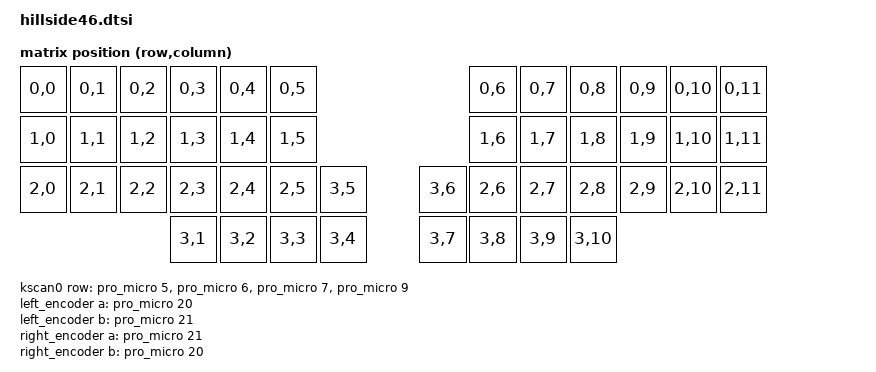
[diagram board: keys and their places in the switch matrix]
/*
 * Copyright (c) 2021-2022 The ZMK Contributors
 *
 * SPDX-License-Identifier: MIT
 */

#include <dt-bindings/zmk/matrix_transform.h>
+#include <physical_layouts.dtsi>

/ {
    chosen {
        zmk,kscan = &kscan0;
        zmk,physical-layout = &physical_layout0;
    };

    default_transform: keymap_transform_0 {
        compatible = "zmk,matrix-transform";
        columns = <12>;
        rows = <4>;
// | SW1  | SW2  | SW3  | SW4  | SW5  | SW6  |                                   | SW6  | SW5  | SW4  | SW3  | SW2  | SW1  |
// | SW7  | SW8  | SW9  | SW10 | SW11 | SW12 |                                   | SW12 | SW11 | SW10 | SW9  | SW8  | SW7  |
// | SW13 | SW14 | SW15 | SW16 | SW17 | SW18 / SW19 /                     \ SW19 \ SW18 | SW17 | SW16 | SW15 | SW14 | SW13 |
//                         | SW20 / SW21 / SW22 / SW23 /               \ SW23 \ SW23 \ SW21 \ SW20 |
        map = <
RC(0,0) RC(0,1) RC(0,2) RC(0,3) RC(0,4) RC(0,5)                                   RC(0,6) RC(0,7) RC(0,8) RC(0,9) RC(0,10) RC(0,11)
RC(1,0) RC(1,1) RC(1,2) RC(1,3) RC(1,4) RC(1,5)                                   RC(1,6) RC(1,7) RC(1,8) RC(1,9) RC(1,10) RC(1,11)
RC(2,0) RC(2,1) RC(2,2) RC(2,3) RC(2,4) RC(2,5) RC(3,5)                   RC(3,6) RC(2,6) RC(2,7) RC(2,8) RC(2,9) RC(2,10) RC(2,11)
                                RC(3,1) RC(3,2) RC(3,3) RC(3,4)   RC(3,7) RC(3,8) RC(3,9) RC(3,10)
        >;
    };

    physical_layout0: physical_layout_0 {
        compatible = "zmk,physical-layout";
        display-name = "Hillside 46";
        transform = <&default_transform>;

        keys
            // Row 0
            = <&key_physical_attrs 100 100    0    0 0 0 0>  // 0
            , <&key_physical_attrs 100 100  100    0 0 0 0>  // 1
            , <&key_physical_attrs 100 100  200    0 0 0 0>  // 2
            , <&key_physical_attrs 100 100  300    0 0 0 0>  // 3
            , <&key_physical_attrs 100 100  400    0 0 0 0>  // 4
            , <&key_physical_attrs 100 100  500    0 0 0 0>  // 5

            , <&key_physical_attrs 100 100  900    0 0 0 0>  // 6
            , <&key_physical_attrs 100 100 1000    0 0 0 0>  // 7
            , <&key_physical_attrs 100 100 1100    0 0 0 0>  // 8
            , <&key_physical_attrs 100 100 1200    0 0 0 0>  // 9
            , <&key_physical_attrs 100 100 1300    0 0 0 0>  // 10
            , <&key_physical_attrs 100 100 1400    0 0 0 0>  // 11

            // Row 1
            , <&key_physical_attrs 100 100    0  100 0 0 0>  // 12
            , <&key_physical_attrs 100 100  100  100 0 0 0>  // 13
            , <&key_physical_attrs 100 100  200  100 0 0 0>  // 14
            , <&key_physical_attrs 100 100  300  100 0 0 0>  // 15
            , <&key_physical_attrs 100 100  400  100 0 0 0>  // 16
            , <&key_physical_attrs 100 100  500  100 0 0 0>  // 17

            , <&key_physical_attrs 100 100  900  100 0 0 0>  // 18
            , <&key_physical_attrs 100 100 1000  100 0 0 0>  // 19
            , <&key_physical_attrs 100 100 1100  100 0 0 0>  // 20
            , <&key_physical_attrs 100 100 1200  100 0 0 0>  // 21
            , <&key_physical_attrs 100 100 1300  100 0 0 0>  // 22
            , <&key_physical_attrs 100 100 1400  100 0 0 0>  // 23

            // Row 2
            , <&key_physical_attrs 100 100    0  200 0 0 0>  // 24
            , <&key_physical_attrs 100 100  100  200 0 0 0>  // 25
            , <&key_physical_attrs 100 100  200  200 0 0 0>  // 26
            , <&key_physical_attrs 100 100  300  200 0 0 0>  // 27
            , <&key_physical_attrs 100 100  400  200 0 0 0>  // 28
            , <&key_physical_attrs 100 100  500  200 0 0 0>  // 29
            , <&key_physical_attrs 100 100  600  200 0 0 0>  // 30

            , <&key_physical_attrs 100 100  800  200 0 0 0>  // 31
            , <&key_physical_attrs 100 100  900  200 0 0 0>  // 32
            , <&key_physical_attrs 100 100 1000  200 0 0 0>  // 33
            , <&key_physical_attrs 100 100 1100  200 0 0 0>  // 34
            , <&key_physical_attrs 100 100 1200  200 0 0 0>  // 35
            , <&key_physical_attrs 100 100 1300  200 0 0 0>  // 36
            , <&key_physical_attrs 100 100 1400  200 0 0 0>  // 37

            // Thumb row
            , <&key_physical_attrs 100 100  300  300 0 0 0>  // 38
            , <&key_physical_attrs 100 100  400  300 0 0 0>  // 39
            , <&key_physical_attrs 100 100  500  300 0 0 0>  // 40
            , <&key_physical_attrs 100 100  600  300 0 0 0>  // 41

            , <&key_physical_attrs 100 100  800  300 0 0 0>  // 42
            , <&key_physical_attrs 100 100  900  300 0 0 0>  // 43
            , <&key_physical_attrs 100 100 1000  300 0 0 0>  // 44
            , <&key_physical_attrs 100 100 1100  300 0 0 0>  // 45
            ;
    };

    kscan0: kscan {
        compatible = "zmk,kscan-gpio-matrix";
        label = "KSCAN";

        diode-direction = "col2row";
        row-gpios
            = <&pro_micro 5 (GPIO_ACTIVE_HIGH | GPIO_PULL_DOWN)>
            , <&pro_micro 6 (GPIO_ACTIVE_HIGH | GPIO_PULL_DOWN)>
            , <&pro_micro 7 (GPIO_ACTIVE_HIGH | GPIO_PULL_DOWN)>
            , <&pro_micro 9 (GPIO_ACTIVE_HIGH | GPIO_PULL_DOWN)>
            ;
        
    };

    left_encoder: encoder_left {
            compatible = "alps,ec11";
            label = "LEFT_ENCODER";
            a-gpios = <&pro_micro 20 (GPIO_ACTIVE_HIGH | GPIO_PULL_UP)>;
            b-gpios = <&pro_micro 21 (GPIO_ACTIVE_HIGH | GPIO_PULL_UP)>;
            resolution = <4>;
            status = "disabled";
        };

    right_encoder: encoder_right {
            compatible = "alps,ec11";
            label = "RIGHT_ENCODER";
            a-gpios = <&pro_micro 21 (GPIO_ACTIVE_HIGH | GPIO_PULL_UP)>;
            b-gpios = <&pro_micro 20 (GPIO_ACTIVE_HIGH | GPIO_PULL_UP)>;
            resolution = <4>;
            status = "disabled";
        };

    sensors {
            compatible = "zmk,keymap-sensors";
            sensors = <&left_encoder &right_encoder>;
        };
    
};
